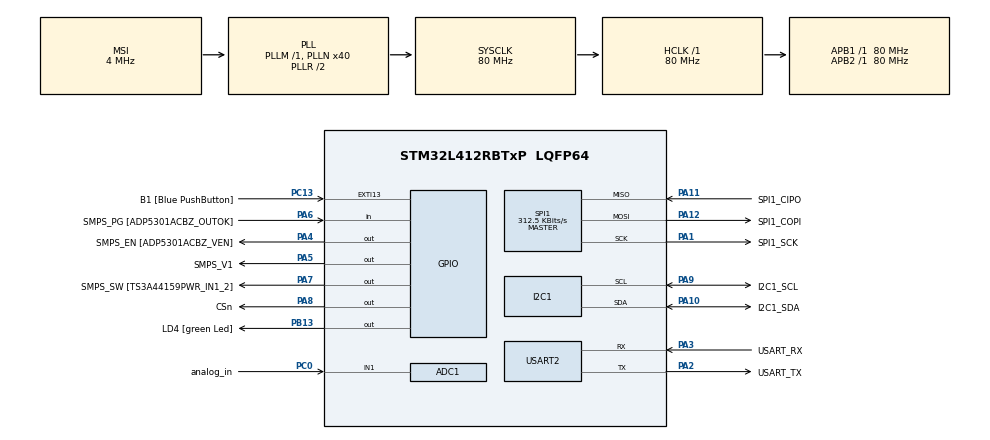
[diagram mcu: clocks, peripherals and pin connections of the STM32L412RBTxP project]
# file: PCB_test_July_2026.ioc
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ADC1.Channel-0\#ChannelRegularConversion=ADC_CHANNEL_1
ADC1.NbrOfConversionFlag=1
ADC1.OffsetNumber-0\#ChannelRegularConversion=ADC_OFFSET_NONE
ADC1.Rank-0\#ChannelRegularConversion=1
ADC1.SamplingTime-0\#ChannelRegularConversion=ADC_SAMPLETIME_2CYCLES_5
ADC1.master=1
I2C1.Timing=0x10D19CE4
Mcu.Family=STM32L4
Mcu.Name=STM32L412RBTxP
Mcu.Package=LQFP64
NVIC.PriorityGroup=NVIC_PRIORITYGROUP_4
PA1.GPIO_Label=SPI1_SCK
PA1.Mode=Full_Duplex_Master
PA1.Signal=SPI1_SCK
PA10.GPIO_Label=I2C1_SDA
PA10.Mode=I2C
PA10.Signal=I2C1_SDA
PA11.GPIO_Label=SPI1_CIPO
PA11.Mode=Full_Duplex_Master
PA11.Signal=SPI1_MISO
PA12.GPIO_Label=SPI1_COPI
PA12.Mode=Full_Duplex_Master
PA12.Signal=SPI1_MOSI
PA13\ (JTMS/SWDIO).GPIO_Label=TMS
PA13\ (JTMS/SWDIO).Mode=Serial_Wire
PA13\ (JTMS/SWDIO).Signal=SYS_JTMS-SWDIO
PA14\ (JTCK/SWCLK).GPIO_Label=TCK
PA14\ (JTCK/SWCLK).Mode=Serial_Wire
PA14\ (JTCK/SWCLK).Signal=SYS_JTCK-SWCLK
PA2.GPIO_Label=USART_TX
PA2.GPIO_PuPd=GPIO_NOPULL
PA2.GPIO_Speed=GPIO_SPEED_FREQ_VERY_HIGH
PA2.Mode=Asynchronous
PA2.Signal=USART2_TX
PA3.GPIO_Label=USART_RX
PA3.GPIO_PuPd=GPIO_NOPULL
PA3.GPIO_Speed=GPIO_SPEED_FREQ_VERY_HIGH
PA3.Mode=Asynchronous
PA3.Signal=USART2_RX
PA4.GPIO_Label=SMPS_EN [ADP5301ACBZ_VEN]
PA4.Signal=GPIO_Output
PA5.GPIO_Label=SMPS_V1
PA5.GPIO_ModeDefaultOutputPP=GPIO_MODE_OUTPUT_PP
PA5.GPIO_PuPd=GPIO_NOPULL
PA5.GPIO_Speed=GPIO_SPEED_FREQ_LOW
PA5.Signal=GPIO_Output
PA6.GPIO_Label=SMPS_PG [ADP5301ACBZ_OUTOK]
PA6.GPIO_PuPd=GPIO_PULLUP
PA6.Signal=GPIO_Input
PA7.GPIO_Label=SMPS_SW [TS3A44159PWR_IN1_2]
PA7.Signal=GPIO_Output
PA8.GPIO_Label=CSn
PA8.PinState=GPIO_PIN_SET
PA8.Signal=GPIO_Output
PA9.GPIO_Label=I2C1_SCL
PA9.Mode=I2C
PA9.Signal=I2C1_SCL
PB13.GPIO_Label=LD4 [green Led]
PB13.Signal=GPIO_Output
PB3\ (JTDO/TRACESWO).GPIO_Label=SWO
PB3\ (JTDO/TRACESWO).Signal=SYS_JTDO-SWO
PC0.GPIO_Label=analog_in
PC0.Signal=ADCx_IN1
PC13.GPIO_Label=B1 [Blue PushButton]
PC13.GPIO_ModeDefaultEXTI=GPIO_MODE_IT_FALLING
PC13.GPIO_PuPd=GPIO_NOPULL
PC13.Signal=GPXTI13
PC14-OSC32_IN\ (PC14).Mode=LSE-External-Oscillator
PC14-OSC32_IN\ (PC14).Signal=RCC_OSC32_IN
PC15-OSC32_OUT\ (PC15).Mode=LSE-External-Oscillator
PC15-OSC32_OUT\ (PC15).Signal=RCC_OSC32_OUT
PH0-OSC_IN\ (PH0).GPIO_Label=MCO
PH0-OSC_IN\ (PH0).Mode=HSE-External-Clock-Source
PH0-OSC_IN\ (PH0).Signal=RCC_OSC_IN
PH1-OSC_OUT\ (PH1).Signal=RCC_OSC_OUT
ProjectManager.HeapSize=0x200
ProjectManager.StackSize=0x400
ProjectManager.TargetToolchain=STM32CubeIDE
RCC.ADCFreq_Value=80000000
RCC.AHBFreq_Value=80000000
RCC.APB1Freq_Value=80000000
RCC.APB1TimFreq_Value=80000000
RCC.APB2Freq_Value=80000000
RCC.APB2TimFreq_Value=80000000
RCC.CortexFreq_Value=80000000
RCC.FLatency=FLASH_LATENCY_4
RCC.HCLKFreq_Value=80000000
RCC.HSE_VALUE=8000000
RCC.HSI48_VALUE=48000000
RCC.HSICalibrationValue=64
RCC.HSI_VALUE=16000000
RCC.MSIAutoCalibration=DISABLED
RCC.MSI_VALUE=4000000
RCC.PLLN=40
RCC.PREFETCH_ENABLE=1
RCC.SYSCLKFreq_VALUE=80000000
RCC.SYSCLKSource=RCC_SYSCLKSOURCE_PLLCLK
RCC.USBFreq_Value=4000000
RCC.VCOOutputFreq_Value=160000000
SH.ADCx_IN1.0=ADC1_IN1,IN1-Single-Ended
SPI1.BaudRatePrescaler=SPI_BAUDRATEPRESCALER_256
SPI1.CalculateBaudRate=312.5 KBits/s
SPI1.DataSize=SPI_DATASIZE_8BIT
SPI1.Direction=SPI_DIRECTION_2LINES
SPI1.Mode=SPI_MODE_MASTER
SPI1.VirtualType=VM_MASTER
USART2.VirtualMode-Asynchronous=VM_ASYNC
board=NUCLEO-L412RB-P

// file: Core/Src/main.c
/* USER CODE BEGIN Header */
/**
  ******************************************************************************
  * @file           : main.c
  * @brief          : Main program body
  ******************************************************************************
  * @attention
  *
  * Copyright (c) 2026 STMicroelectronics.
  * All rights reserved.
  *
  * This software is licensed under terms that can be found in the LICENSE file
  * in the root directory of this software component.
  * If no LICENSE file comes with this software, it is provided AS-IS.
  *
  ******************************************************************************
  */
/* USER CODE END Header */
#include "main.h"

/* USER CODE BEGIN Includes */
#include "tmp117.h"
#include "sht45.h"
#include "mlx.h"
#include "bmp585_hardware.h"
#include "fs4001e.h"

/* USER CODE END Includes */

/* USER CODE BEGIN PD */
//#define BMP5_REG_CHIP_ID      0x01
//#define BMP5_REG_INT_STATUS   0x27
//#define BMP5_REG_STATUS       0x28
//#define BMP5_REG_CMD          0x7E

#define BMP5_CMD_SOFT_RESET   0xB6
/* USER CODE END PD */

ADC_HandleTypeDef hadc1;

I2C_HandleTypeDef hi2c1;

SPI_HandleTypeDef hspi1;

UART_HandleTypeDef huart2;

/* USER CODE BEGIN PV */
float current_temperature = 0.0f; 	// for TMP117
float temp = 0.0f; 					// for SHT45
float hum = 0.0f; 				// for SHT45
float hum_arr[100][2] = {{0}, {0}};
uint16_t hum_arr_head = 0;
float mov_av_h = 0;
float mov_av_t = 0;

float leaf_temperature_celsius = 0.0f;

float bmp_temperature_c = 0.0f;
float bmp_pressure_hpa = 0.0f;

volatile uint8_t test_chip_id    = 0;
volatile uint8_t test_status     = 0;
volatile uint8_t test_int_status = 0;
HAL_StatusTypeDef spi_err;

volatile uint32_t raw_pressure = 0;
volatile int32_t  raw_temperature = 0;

volatile float BMP585_temp = 0;
volatile float BMP585_pressure = 0;

volatile float MFM_flow = 123.4;

uint8_t tx_data[8] = {0}; // 1 Address byte + 1 Dummy byte + 6 Data bytes
uint8_t rx_data[8] = {0};

uint8_t my_serial_number[13];

uint16_t debug_x = 0;
int16_t debug_xi = 0;
int16_t debug_xii =0;

char MFM_serial_number[11] = {0};

/* USER CODE END PV */

void SystemClock_Config(void);
static void MX_GPIO_Init(void);
static void MX_ADC1_Init(void);
static void MX_I2C1_Init(void);
static void MX_SPI1_Init(void);
static void MX_USART2_UART_Init(void);
/* USER CODE BEGIN PFP */
//int8_t BMP585_AJC_Init(struct bmp5_dev *dev);
/* USER CODE END PFP */

int main(void)
{

  /* MCU Configuration--------------------------------------------------------*/

  /* Reset of all peripherals, Initializes the Flash interface and the Systick. */
  HAL_Init();

  /* Configure the system clock */
  SystemClock_Config();

  /* Initialize all configured peripherals */
  MX_GPIO_Init();
  MX_ADC1_Init();
  MX_I2C1_Init();
  MX_SPI1_Init();
  MX_USART2_UART_Init();
  /* USER CODE BEGIN 2 */

  // API based BMP585 initialisation sequence
  int8_t init_status = BMP585_Hardware_Init(&bmp585_device);

  if(0){
  if (init_status == BMP5_OK)
  {
      test_chip_id = bmp585_device.chip_id; // Catches 0x51
  }
  else
  {
      test_chip_id = 0xEE;
      while(1); // Trap for debugging
  }
  }

  // hand-made code to initialise BMP585
  if (0){
  /* --- STEP 1: POWER-UP STABILIZATION --- */
HAL_Delay(5);

/* --- STEP 2: INTERFACE SELECTION WORKAROUND --- */
// Force sensor out of I2C mode into 4-wire SPI mode via a dummy CS toggle/write
uint8_t dummy_byte = 0x00;
  HAL_GPIO_WritePin(BMP585_CS_PORT, BMP585_CS_PIN, GPIO_PIN_RESET);
  HAL_SPI_Transmit(&hspi1, &dummy_byte, 1, HAL_MAX_DELAY);
  HAL_GPIO_WritePin(BMP585_CS_PORT, BMP585_CS_PIN, GPIO_PIN_SET);

  HAL_Delay(5);

  /* --- STEP 3: NATIVE HARDWARE SOFT-RESET --- */
    // Direct register write to completely refresh the chip from its stuck state
    uint8_t tx_reset[2];
    tx_reset[0] = BMP5_REG_CMD & 0x7F; // Clear Bit 7 for Write operations
    tx_reset[1] = BMP5_CMD_SOFT_RESET;

    HAL_GPIO_WritePin(BMP585_CS_PORT, BMP585_CS_PIN, GPIO_PIN_RESET);
    spi_err = HAL_SPI_Transmit(&hspi1, tx_reset, 2, HAL_MAX_DELAY);
    HAL_GPIO_WritePin(BMP585_CS_PORT, BMP585_CS_PIN, GPIO_PIN_SET);

    HAL_Delay(3);

    /* --- STEP 4: READ BACK THE POST-POWER-UP CRITERIA --- */
      uint8_t tx_buf[3];
      uint8_t rx_buf[3];

      // =====================================================================
	  // NEW: POST-RESET DUMMY WAKE-UP READ
	  // The first transaction after a soft-reset is swallowed by the sensor
	  // to synchronize the SPI interface. We perform a quick dummy read here.
	  // =====================================================================
	  tx_buf[0] = 0x80; // Dummy read address
	  tx_buf[1] = 0x00;
	  HAL_GPIO_WritePin(BMP585_CS_PORT, BMP585_CS_PIN, GPIO_PIN_RESET);
	  HAL_SPI_TransmitReceive(&hspi1, tx_buf, rx_buf, 2, HAL_MAX_DELAY);
	  HAL_GPIO_WritePin(BMP585_CS_PORT, BMP585_CS_PIN, GPIO_PIN_SET);

	  HAL_Delay(1); // Tiny gap to let the sensor serial interface settle

      // 1. Read CHIP_ID (Register 0x01)
      tx_buf[0] = BMP5_REG_CHIP_ID | 0x80; // Set Bit 7 for Read operations
      tx_buf[1] = 0x00;                    // Dummy Byte
      tx_buf[2] = 0x00;

      HAL_GPIO_WritePin(BMP585_CS_PORT, BMP585_CS_PIN, GPIO_PIN_RESET);
      HAL_SPI_TransmitReceive(&hspi1, tx_buf, rx_buf, 2, HAL_MAX_DELAY);
      HAL_GPIO_WritePin(BMP585_CS_PORT, BMP585_CS_PIN, GPIO_PIN_SET);
      test_chip_id = rx_buf[1];            // Extract data after dummy byte

      // 2. Read STATUS (Register 0x28)
      tx_buf[0] = BMP5_REG_STATUS | 0x80;
      tx_buf[1] = 0x00;
      tx_buf[2] = 0x00;

      HAL_GPIO_WritePin(BMP585_CS_PORT, BMP585_CS_PIN, GPIO_PIN_RESET);
      HAL_SPI_TransmitReceive(&hspi1, tx_buf, rx_buf, 2, HAL_MAX_DELAY);
      HAL_GPIO_WritePin(BMP585_CS_PORT, BMP585_CS_PIN, GPIO_PIN_SET);
      test_status = rx_buf[1];

      // 3. Read INT_STATUS (Register 0x27)
      tx_buf[0] = BMP5_REG_INT_STATUS | 0x80;
      tx_buf[1] = 0x00;
      tx_buf[2] = 0x00;

      HAL_GPIO_WritePin(BMP585_CS_PORT, BMP585_CS_PIN, GPIO_PIN_RESET);
      HAL_SPI_TransmitReceive(&hspi1, tx_buf, rx_buf, 2, HAL_MAX_DELAY);
      HAL_GPIO_WritePin(BMP585_CS_PORT, BMP585_CS_PIN, GPIO_PIN_SET);
      test_int_status = rx_buf[1];

      /* --- STEP 5: SENSOR CONFIGURATION --- */
      uint8_t tx_cfg[2];

      // 1. Enable Pressure & Temperature Channels (ODR_CONFIG register 0x37)
      // We'll set ODR to 10Hz (0x03) and keep PWR_MODE in standby for now
      tx_cfg[0] = 0x37 & 0x7F; // Write mode
      tx_cfg[1] = 0x03; // 0x0 stndby, 0x1 normal, 0x2 forced, 0x3 non-stop
      HAL_GPIO_WritePin(BMP585_CS_PORT, BMP585_CS_PIN, GPIO_PIN_RESET);
      HAL_SPI_Transmit(&hspi1, tx_cfg, 2, HAL_MAX_DELAY);
      HAL_GPIO_WritePin(BMP585_CS_PORT, BMP585_CS_PIN, GPIO_PIN_SET);
      HAL_Delay(1);

      // 2. Set Oversampling (OSR_CONFIG register 0x36)
      // Standard resolution for both Temp and Press (0x02 << 3 | 0x02) -> 0x12
      tx_cfg[0] = 0x36 & 0x7F; // Write mode
      tx_cfg[1] = 0x52; // b7: reserved, b6: pressure on, b5-3: oversampling rate pressure, b2-0: OSR temp
      HAL_GPIO_WritePin(BMP585_CS_PORT, BMP585_CS_PIN, GPIO_PIN_RESET);
      HAL_SPI_Transmit(&hspi1, tx_cfg, 2, HAL_MAX_DELAY);
      HAL_GPIO_WritePin(BMP585_CS_PORT, BMP585_CS_PIN, GPIO_PIN_SET);
      HAL_Delay(1);

      // 3. Switch Power Mode to Normal Mode (ODR_CONFIG register 0x37, bits [1:0] = 0x02)
      // This starts continuous conversions. (10Hz ODR + Normal Mode -> 0x03 | 0x02 = 0x05)
      tx_cfg[0] = 0x37 & 0x7F; // Write mode
      tx_cfg[1] = 0x5D;
      HAL_GPIO_WritePin(BMP585_CS_PORT, BMP585_CS_PIN, GPIO_PIN_RESET);
      HAL_SPI_Transmit(&hspi1, tx_cfg, 2, HAL_MAX_DELAY);
      HAL_GPIO_WritePin(BMP585_CS_PORT, BMP585_CS_PIN, GPIO_PIN_SET);
      HAL_Delay(10); // Let the first conversion cycle finish
  }

  if (0){
  if (MLX_Application_Init() != 0)
    {
        Error_Handler();
    }
    HAL_Delay(100);
  }

  /* USER CODE END 2 */

  /* Infinite loop */
  while (1)
  {

    /* USER CODE BEGIN 3 */
	  // inconsequential change to test ability to commit
	  // and another
	  //if (TMP117_Read_Temperature(&hi2c1, &current_temperature) == TMP117_OK)
	  //{
	  //    // successfully read into current_temperature
	  //}

/*
	SHT45_Read_Data(&hi2c1, &temp, &hum );
	hum_arr[hum_arr_head][0] = hum;
	hum_arr[hum_arr_head][1] = temp;
	if (hum_arr_head == 99){
		float dummy_h = 0;
		float dummy_t = 0;
		for (int i = 0; i < 100; i++){
			dummy_h += hum_arr[i][0];
			dummy_t += hum_arr[i][1];
		}
		dummy_h = dummy_h / 100;
		dummy_t = dummy_t / 100;
		mov_av_h = dummy_h;
		mov_av_t = dummy_t;
	}

	hum_arr_head ++;
	hum_arr_head = hum_arr_head % 100;
*/

	  /*
	int32_t mlx_status = MLX_Application_Read_Temperature(&leaf_temperature_celsius);
		if (mlx_status == 0)
		{
			// A fresh, valid object temperature reading is ready in leaf_temperature_celsius!
			// You can place a breakpoint or a watch expression here to inspect the value.
		}
		else if (mlx_status < 0)
		{
			// Optional: Handle I2C bus error states here
		}

	HAL_Delay(5);
*/
if(0){
	  // Start burst read at TEMP_XLSB (Register 0x1D)
	      // This will stream out: TEMP_XLSB, TEMP_LSB, TEMP_MSB, PRESS_XLSB, PRESS_LSB, PRESS_MSB
	      tx_data[0] = 0x1D | 0x80; // Read mode

	      HAL_GPIO_WritePin(BMP585_CS_PORT, BMP585_CS_PIN, GPIO_PIN_RESET);
	      // Transmit address/dummy and clock out all 6 data bytes in one single CS window
	      HAL_SPI_TransmitReceive(&hspi1, tx_data, rx_data, 8, HAL_MAX_DELAY);
	      HAL_GPIO_WritePin(BMP585_CS_PORT, BMP585_CS_PIN, GPIO_PIN_SET);

	      // Reconstruction based on data indexing (rx_data[0]=SPI Status, rx_data[1]=Dummy)
	      // Temperature: 24-bit signed integer
	      raw_temperature = (int32_t)((uint32_t)rx_data[3] << 16 |
	                                  (uint32_t)rx_data[2] << 8  |
	                                  (uint32_t)rx_data[1]);

	      // Sign-extend 24-bit to 32-bit if negative
	      if (raw_temperature & 0x00800000) {
	          raw_temperature |= 0xFF000000;
	      }

	      BMP585_temp = raw_temperature / 65536.0f;

	      // Pressure: 24-bit unsigned integer
	      raw_pressure = (uint32_t)((uint32_t)rx_data[6] << 16 |
	                                (uint32_t)rx_data[5] << 8  |
	                                (uint32_t)rx_data[4]);

	      BMP585_pressure = raw_pressure / 64;

	      HAL_Delay(100); // Sample at roughly 10Hz}

  }

	if(1){

	    	  //FS4001E_Life_Sign(&hi2c1, my_serial_number);
			  //FS4001E_Test_Raw_Read(&hi2c1);
			  //FS4001E_Read_Serial_First_Bytes(&hi2c1);
			  FS4001E_Read_SN(&hi2c1, MFM_serial_number);
			  HAL_Delay(10);
			  MFM_flow = FS4001E_Get_Flow_Rate(&hi2c1);

	    	  //MFM_flow = FS4001E_Flow_Read(&hi2c1);
	    	  HAL_Delay(300);
	      }
  }
  /* USER CODE END 3 */
}

void SystemClock_Config(void)
{
  RCC_OscInitTypeDef RCC_OscInitStruct = {0};
  RCC_ClkInitTypeDef RCC_ClkInitStruct = {0};

  /** Configure the main internal regulator output voltage
  */
  if (HAL_PWREx_ControlVoltageScaling(PWR_REGULATOR_VOLTAGE_SCALE1) != HAL_OK)
  {
    Error_Handler();
  }

  /** Initializes the RCC Oscillators according to the specified parameters
  * in the RCC_OscInitTypeDef structure.
  */
  RCC_OscInitStruct.OscillatorType = RCC_OSCILLATORTYPE_MSI;
  RCC_OscInitStruct.MSIState = RCC_MSI_ON;
  RCC_OscInitStruct.MSICalibrationValue = 0;
  RCC_OscInitStruct.MSIClockRange = RCC_MSIRANGE_6;
  RCC_OscInitStruct.PLL.PLLState = RCC_PLL_ON;
  RCC_OscInitStruct.PLL.PLLSource = RCC_PLLSOURCE_MSI;
  RCC_OscInitStruct.PLL.PLLM = 1;
  RCC_OscInitStruct.PLL.PLLN = 40;
  RCC_OscInitStruct.PLL.PLLQ = RCC_PLLQ_DIV2;
  RCC_OscInitStruct.PLL.PLLR = RCC_PLLR_DIV2;
  if (HAL_RCC_OscConfig(&RCC_OscInitStruct) != HAL_OK)
  {
    Error_Handler();
  }

  /** Initializes the CPU, AHB and APB buses clocks
  */
  RCC_ClkInitStruct.ClockType = RCC_CLOCKTYPE_HCLK|RCC_CLOCKTYPE_SYSCLK
                              |RCC_CLOCKTYPE_PCLK1|RCC_CLOCKTYPE_PCLK2;
  RCC_ClkInitStruct.SYSCLKSource = RCC_SYSCLKSOURCE_PLLCLK;
  RCC_ClkInitStruct.AHBCLKDivider = RCC_SYSCLK_DIV1;
  RCC_ClkInitStruct.APB1CLKDivider = RCC_HCLK_DIV1;
  RCC_ClkInitStruct.APB2CLKDivider = RCC_HCLK_DIV1;

  if (HAL_RCC_ClockConfig(&RCC_ClkInitStruct, FLASH_LATENCY_4) != HAL_OK)
  {
    Error_Handler();
  }
}

static void MX_ADC1_Init(void)
{

  ADC_MultiModeTypeDef multimode = {0};
  ADC_ChannelConfTypeDef sConfig = {0};

  /** Common config
  */
  hadc1.Instance = ADC1;
  hadc1.Init.ClockPrescaler = ADC_CLOCK_ASYNC_DIV1;
  hadc1.Init.Resolution = ADC_RESOLUTION_12B;
  hadc1.Init.DataAlign = ADC_DATAALIGN_RIGHT;
  hadc1.Init.ScanConvMode = ADC_SCAN_DISABLE;
  hadc1.Init.EOCSelection = ADC_EOC_SINGLE_CONV;
  hadc1.Init.LowPowerAutoWait = DISABLE;
  hadc1.Init.ContinuousConvMode = DISABLE;
  hadc1.Init.NbrOfConversion = 1;
  hadc1.Init.DiscontinuousConvMode = DISABLE;
  hadc1.Init.ExternalTrigConv = ADC_SOFTWARE_START;
  hadc1.Init.ExternalTrigConvEdge = ADC_EXTERNALTRIGCONVEDGE_NONE;
  hadc1.Init.DMAContinuousRequests = DISABLE;
  hadc1.Init.Overrun = ADC_OVR_DATA_PRESERVED;
  hadc1.Init.OversamplingMode = DISABLE;
  if (HAL_ADC_Init(&hadc1) != HAL_OK)
  {
    Error_Handler();
  }

  /** Configure the ADC multi-mode
  */
  multimode.Mode = ADC_MODE_INDEPENDENT;
  if (HAL_ADCEx_MultiModeConfigChannel(&hadc1, &multimode) != HAL_OK)
  {
    Error_Handler();
  }

  /** Configure Regular Channel
  */
  sConfig.Channel = ADC_CHANNEL_1;
  sConfig.Rank = ADC_REGULAR_RANK_1;
  sConfig.SamplingTime = ADC_SAMPLETIME_2CYCLES_5;
  sConfig.SingleDiff = ADC_SINGLE_ENDED;
  sConfig.OffsetNumber = ADC_OFFSET_NONE;
  sConfig.Offset = 0;
  if (HAL_ADC_ConfigChannel(&hadc1, &sConfig) != HAL_OK)
  {
    Error_Handler();
  }

}

static void MX_I2C1_Init(void)
{

  hi2c1.Instance = I2C1;
  hi2c1.Init.Timing = 0x10D19CE4;
  hi2c1.Init.OwnAddress1 = 0;
  hi2c1.Init.AddressingMode = I2C_ADDRESSINGMODE_7BIT;
  hi2c1.Init.DualAddressMode = I2C_DUALADDRESS_DISABLE;
  hi2c1.Init.OwnAddress2 = 0;
  hi2c1.Init.OwnAddress2Masks = I2C_OA2_NOMASK;
  hi2c1.Init.GeneralCallMode = I2C_GENERALCALL_DISABLE;
  hi2c1.Init.NoStretchMode = I2C_NOSTRETCH_DISABLE;
  if (HAL_I2C_Init(&hi2c1) != HAL_OK)
  {
    Error_Handler();
  }

  /** Configure Analogue filter
  */
  if (HAL_I2CEx_ConfigAnalogFilter(&hi2c1, I2C_ANALOGFILTER_ENABLE) != HAL_OK)
  {
    Error_Handler();
  }

  /** Configure Digital filter
  */
  if (HAL_I2CEx_ConfigDigitalFilter(&hi2c1, 0) != HAL_OK)
  {
    Error_Handler();
  }

}

static void MX_SPI1_Init(void)
{

  /* SPI1 parameter configuration*/
  hspi1.Instance = SPI1;
  hspi1.Init.Mode = SPI_MODE_MASTER;
  hspi1.Init.Direction = SPI_DIRECTION_2LINES;
  hspi1.Init.DataSize = SPI_DATASIZE_8BIT;
  hspi1.Init.CLKPolarity = SPI_POLARITY_LOW;
  hspi1.Init.CLKPhase = SPI_PHASE_1EDGE;
  hspi1.Init.NSS = SPI_NSS_SOFT;
  hspi1.Init.BaudRatePrescaler = SPI_BAUDRATEPRESCALER_256;
  hspi1.Init.FirstBit = SPI_FIRSTBIT_MSB;
  hspi1.Init.TIMode = SPI_TIMODE_DISABLE;
  hspi1.Init.CRCCalculation = SPI_CRCCALCULATION_DISABLE;
  hspi1.Init.CRCPolynomial = 7;
  hspi1.Init.CRCLength = SPI_CRC_LENGTH_DATASIZE;
  hspi1.Init.NSSPMode = SPI_NSS_PULSE_ENABLE;
  if (HAL_SPI_Init(&hspi1) != HAL_OK)
  {
    Error_Handler();
  }

}

static void MX_USART2_UART_Init(void)
{

  huart2.Instance = USART2;
  huart2.Init.BaudRate = 115200;
  huart2.Init.WordLength = UART_WORDLENGTH_8B;
  huart2.Init.StopBits = UART_STOPBITS_1;
  huart2.Init.Parity = UART_PARITY_NONE;
  huart2.Init.Mode = UART_MODE_TX_RX;
  huart2.Init.HwFlowCtl = UART_HWCONTROL_NONE;
  huart2.Init.OverSampling = UART_OVERSAMPLING_16;
  huart2.Init.OneBitSampling = UART_ONE_BIT_SAMPLE_DISABLE;
  huart2.AdvancedInit.AdvFeatureInit = UART_ADVFEATURE_NO_INIT;
  if (HAL_UART_Init(&huart2) != HAL_OK)
  {
    Error_Handler();
  }

}

static void MX_GPIO_Init(void)
{
  GPIO_InitTypeDef GPIO_InitStruct = {0};

  /* GPIO Ports Clock Enable */
  __HAL_RCC_GPIOC_CLK_ENABLE();
  __HAL_RCC_GPIOH_CLK_ENABLE();
  __HAL_RCC_GPIOA_CLK_ENABLE();
  __HAL_RCC_GPIOB_CLK_ENABLE();

  /*Configure GPIO pin Output Level */
  HAL_GPIO_WritePin(GPIOA, SMPS_EN_Pin|SMPS_V1_Pin|SMPS_SW_Pin, GPIO_PIN_RESET);

  /*Configure GPIO pin Output Level */
  HAL_GPIO_WritePin(LD4_GPIO_Port, LD4_Pin, GPIO_PIN_RESET);

  /*Configure GPIO pin Output Level */
  HAL_GPIO_WritePin(CSn_GPIO_Port, CSn_Pin, GPIO_PIN_SET);

  /*Configure GPIO pin : B1_Pin */
  GPIO_InitStruct.Pin = B1_Pin;
  GPIO_InitStruct.Mode = GPIO_MODE_IT_FALLING;
  GPIO_InitStruct.Pull = GPIO_NOPULL;
  HAL_GPIO_Init(B1_GPIO_Port, &GPIO_InitStruct);

  /*Configure GPIO pins : SMPS_EN_Pin SMPS_V1_Pin SMPS_SW_Pin CSn_Pin */
  GPIO_InitStruct.Pin = SMPS_EN_Pin|SMPS_V1_Pin|SMPS_SW_Pin|CSn_Pin;
  GPIO_InitStruct.Mode = GPIO_MODE_OUTPUT_PP;
  GPIO_InitStruct.Pull = GPIO_NOPULL;
  GPIO_InitStruct.Speed = GPIO_SPEED_FREQ_LOW;
  HAL_GPIO_Init(GPIOA, &GPIO_InitStruct);

  /*Configure GPIO pin : SMPS_PG_Pin */
  GPIO_InitStruct.Pin = SMPS_PG_Pin;
  GPIO_InitStruct.Mode = GPIO_MODE_INPUT;
  GPIO_InitStruct.Pull = GPIO_PULLUP;
  HAL_GPIO_Init(SMPS_PG_GPIO_Port, &GPIO_InitStruct);

  /*Configure GPIO pin : LD4_Pin */
  GPIO_InitStruct.Pin = LD4_Pin;
  GPIO_InitStruct.Mode = GPIO_MODE_OUTPUT_PP;
  GPIO_InitStruct.Pull = GPIO_NOPULL;
  GPIO_InitStruct.Speed = GPIO_SPEED_FREQ_LOW;
  HAL_GPIO_Init(LD4_GPIO_Port, &GPIO_InitStruct);

}

void Error_Handler(void)
{
  __disable_irq();
  while (1)
  {
  }
}
